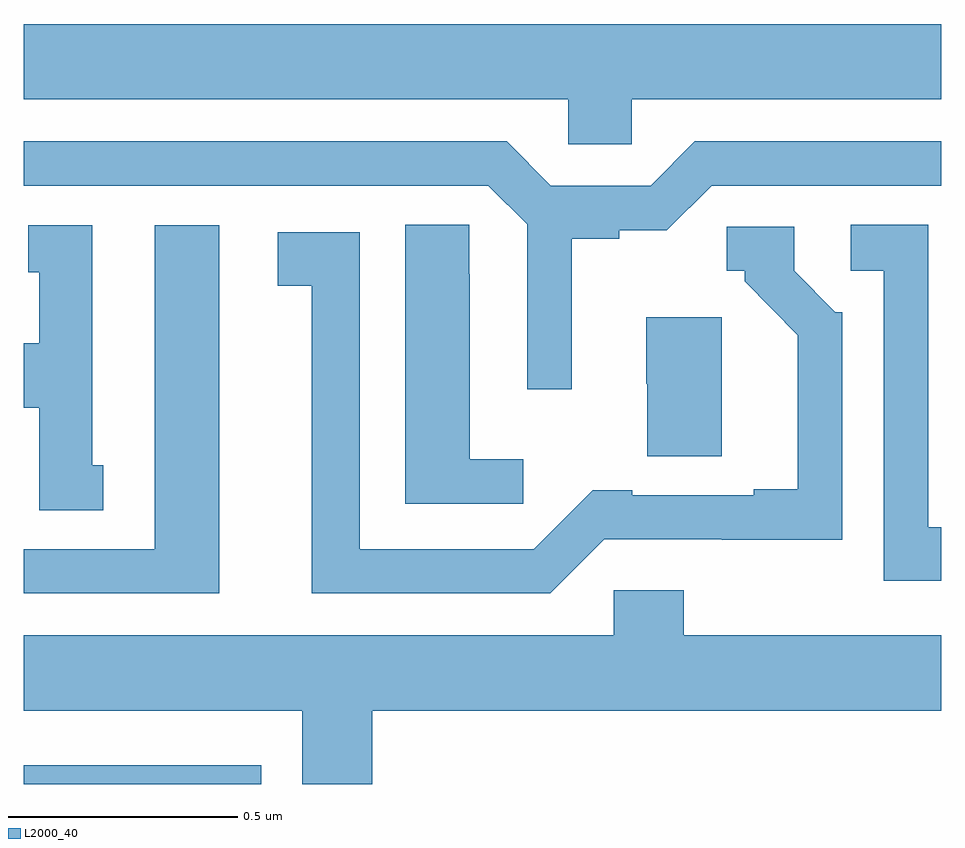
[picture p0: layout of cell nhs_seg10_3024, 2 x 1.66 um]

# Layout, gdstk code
import gdstk
lib = gdstk.Library(unit=1e-6, precision=1e-09)
def R(c, l, rs):  # rectangles x0, y0, x1, y1
    for r in rs: c.add(gdstk.rectangle(r[:2], r[2:], *l))
def P(c, l, *ps):  # polygons
    for p in ps: c.add(gdstk.Polygon(p, *l))
L2000_40 = (2000, 40)

nhs_seg10_3024 = lib.new_cell('nhs_seg10_3024')
R(nhs_seg10_3024, L2000_40, [(148,1289.5,148.518,1289.541)])
P(nhs_seg10_3024, L2000_40, [(149.325,1290.992),(150,1290.992),(150,1291.156),(148,1291.156),(148,1290.992),(149.187,1290.992),(149.187,1290.894),(149.325,1290.894)],
  [(149.194,1290.688),(149.298,1290.688),(149.298,1290.707),(149.402,1290.707),(149.499,1290.804),(150,1290.804),(150,1290.9),(149.463,1290.9),(149.367,1290.804),(149.149,1290.804),(149.053,1290.9),(148,1290.9),(148,1290.804),(149.013,1290.804),(149.097,1290.72),(149.097,1290.36),(149.194,1290.36)],
  [(150,1290.059),(149.971,1290.059),(149.971,1290.719),(149.802,1290.719),(149.802,1290.618),(149.874,1290.618),(149.874,1289.943),(150,1289.943)],
  [(149.089,1290.208),(148.972,1290.208),(148.972,1290.611),(148.971,1290.611),(148.971,1290.719),(148.832,1290.719),(148.832,1290.111),(149.089,1290.111)],
  [(148.174,1290.195),(148.15,1290.195),(148.15,1290.718),(148.01,1290.718),(148.01,1290.615),(148.034,1290.615),(148.034,1290.46),(148,1290.46),(148,1290.32),(148.034,1290.32),(148.034,1290.097),(148.174,1290.097)],
  [(148.426,1290.718),(148.286,1290.718),(148.286,1290.012),(148,1290.012),(148,1289.916),(148.426,1289.916)],
  [(149.265,1290.033),(149.521,1290.033),(149.521,1290.032),(149.784,1290.032),(149.784,1290.528),(149.769,1290.528),(149.679,1290.618),(149.679,1290.714),(149.532,1290.714),(149.532,1290.618),(149.571,1290.618),(149.571,1290.595),(149.687,1290.478),(149.687,1290.142),(149.591,1290.142),(149.591,1290.129),(149.326,1290.129),(149.326,1290.14),(149.24,1290.14),(149.112,1290.012),(148.732,1290.012),(148.732,1290.702),(148.554,1290.702),(148.554,1290.586),(148.628,1290.586),(148.628,1289.916),(149.148,1289.916)],
  [(149.521,1290.517),(149.357,1290.517),(149.357,1290.372),(149.359,1290.372),(149.359,1290.214),(149.521,1290.214)],
  [(148.76,1289.66),(150,1289.66),(150,1289.824),(149.438,1289.824),(149.438,1289.922),(149.286,1289.922),(149.286,1289.824),(148,1289.824),(148,1289.66),(148.607,1289.66),(148.607,1289.5),(148.76,1289.5)])

lib.write_gds('nhs_seg10_3024.gds')
